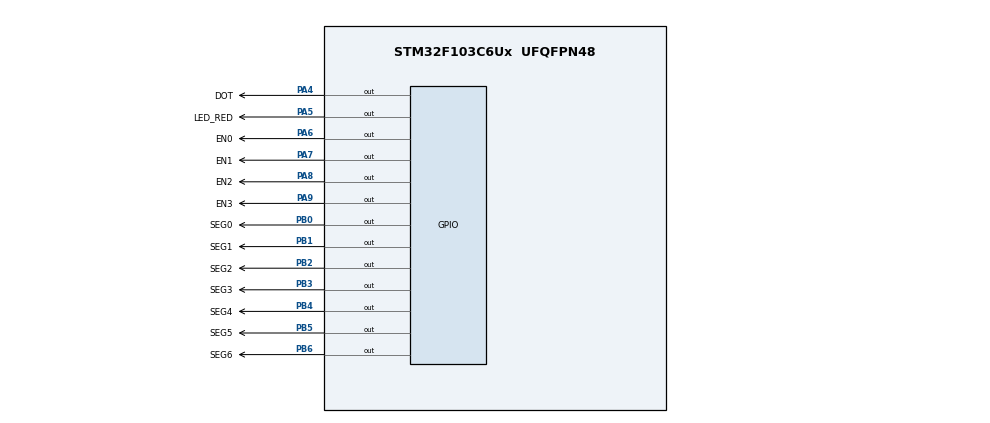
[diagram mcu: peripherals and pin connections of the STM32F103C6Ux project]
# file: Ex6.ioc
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Mcu.Family=STM32F1
Mcu.Name=STM32F103C6Ux
Mcu.Package=UFQFPN48
NVIC.PriorityGroup=NVIC_PRIORITYGROUP_4
NVIC.TIM2_IRQn=true\:0\:0\:false\:false\:true\:true\:true
PA4.GPIO_Label=DOT
PA4.Signal=GPIO_Output
PA5.GPIO_Label=LED_RED
PA5.Signal=GPIO_Output
PA6.GPIO_Label=EN0
PA6.Signal=GPIO_Output
PA7.GPIO_Label=EN1
PA7.Signal=GPIO_Output
PA8.GPIO_Label=EN2
PA8.Signal=GPIO_Output
PA9.GPIO_Label=EN3
PA9.Signal=GPIO_Output
PB0.GPIO_Label=SEG0
PB0.Signal=GPIO_Output
PB1.GPIO_Label=SEG1
PB1.Signal=GPIO_Output
PB2.GPIO_Label=SEG2
PB2.Signal=GPIO_Output
PB3.GPIO_Label=SEG3
PB3.Signal=GPIO_Output
PB4.GPIO_Label=SEG4
PB4.Signal=GPIO_Output
PB5.GPIO_Label=SEG5
PB5.Signal=GPIO_Output
PB6.GPIO_Label=SEG6
PB6.Signal=GPIO_Output
ProjectManager.HeapSize=0x200
ProjectManager.StackSize=0x400
ProjectManager.TargetToolchain=STM32CubeIDE
RCC.APB1Freq_Value=8000000
RCC.APB2Freq_Value=8000000
TIM2.Period=9
TIM2.Prescaler=7999
VP_SYS_VS_ND.Mode=No_Debug
VP_TIM2_VS_ClockSourceINT.Mode=Internal
board=custom

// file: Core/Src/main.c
/* USER CODE BEGIN Header */
/**
  ******************************************************************************
  * @file           : main.c
  * @brief          : Main program body
  ******************************************************************************
  * @attention
  *
  * <h2><center>&copy; Copyright (c) 2022 STMicroelectronics.
  * All rights reserved.</center></h2>
  *
  * This software component is licensed by ST under BSD 3-Clause license,
  * the "License"; You may not use this file except in compliance with the
  * License. You may obtain a copy of the License at:
  *                        opensource.org/licenses/BSD-3-Clause
  *
  ******************************************************************************
  */
/* USER CODE END Header */
#include "main.h"

/* USER CODE BEGIN Includes */
#include "LED.h"
#include "SOFTWARETIMER.h"
/* USER CODE END Includes */

TIM_HandleTypeDef htim2;

void SystemClock_Config(void);
static void MX_GPIO_Init(void);
static void MX_TIM2_Init(void);

/* USER CODE BEGIN 0 */
int timer0_counter = 0;
int timer0_flag = 0;
int TIMER_CYCLE = 10;
void setTimer0(int duration){
	timer0_counter = duration / TIMER_CYCLE ;
	timer0_flag = 0;
}
void timer_run(){
	if (timer0_counter > 0) {
		timer0_counter--;
		if (timer0_counter == 0) timer0_flag = 1;
	}
}
/* USER CODE END 0 */

int main(void)
{

  /* MCU Configuration--------------------------------------------------------*/

  /* Reset of all peripherals, Initializes the Flash interface and the Systick. */
  HAL_Init();

  /* Configure the system clock */
  SystemClock_Config();

  /* Initialize all configured peripherals */
  MX_GPIO_Init();
  MX_TIM2_Init();
  /* USER CODE BEGIN 2 */
  HAL_TIM_Base_Start_IT(&htim2);
  setTimer0 (10);
  /* USER CODE END 2 */

  /* Infinite loop */
  while (1)
  {
	  if (timer0_flag == 1) {
		  HAL_GPIO_TogglePin(LED_RED_GPIO_Port, LED_RED_Pin);
		  setTimer0(2000);
	  }
  }
}

void SystemClock_Config(void)
{
  RCC_OscInitTypeDef RCC_OscInitStruct = {0};
  RCC_ClkInitTypeDef RCC_ClkInitStruct = {0};

  /** Initializes the RCC Oscillators according to the specified parameters
  * in the RCC_OscInitTypeDef structure.
  */
  RCC_OscInitStruct.OscillatorType = RCC_OSCILLATORTYPE_HSI;
  RCC_OscInitStruct.HSIState = RCC_HSI_ON;
  RCC_OscInitStruct.HSICalibrationValue = RCC_HSICALIBRATION_DEFAULT;
  RCC_OscInitStruct.PLL.PLLState = RCC_PLL_NONE;
  if (HAL_RCC_OscConfig(&RCC_OscInitStruct) != HAL_OK)
  {
    Error_Handler();
  }
  /** Initializes the CPU, AHB and APB buses clocks
  */
  RCC_ClkInitStruct.ClockType = RCC_CLOCKTYPE_HCLK|RCC_CLOCKTYPE_SYSCLK
                              |RCC_CLOCKTYPE_PCLK1|RCC_CLOCKTYPE_PCLK2;
  RCC_ClkInitStruct.SYSCLKSource = RCC_SYSCLKSOURCE_HSI;
  RCC_ClkInitStruct.AHBCLKDivider = RCC_SYSCLK_DIV1;
  RCC_ClkInitStruct.APB1CLKDivider = RCC_HCLK_DIV1;
  RCC_ClkInitStruct.APB2CLKDivider = RCC_HCLK_DIV1;

  if (HAL_RCC_ClockConfig(&RCC_ClkInitStruct, FLASH_LATENCY_0) != HAL_OK)
  {
    Error_Handler();
  }
}

static void MX_TIM2_Init(void)
{

  TIM_ClockConfigTypeDef sClockSourceConfig = {0};
  TIM_MasterConfigTypeDef sMasterConfig = {0};

  htim2.Instance = TIM2;
  htim2.Init.Prescaler = 7999;
  htim2.Init.CounterMode = TIM_COUNTERMODE_UP;
  htim2.Init.Period = 9;
  htim2.Init.ClockDivision = TIM_CLOCKDIVISION_DIV1;
  htim2.Init.AutoReloadPreload = TIM_AUTORELOAD_PRELOAD_DISABLE;
  if (HAL_TIM_Base_Init(&htim2) != HAL_OK)
  {
    Error_Handler();
  }
  sClockSourceConfig.ClockSource = TIM_CLOCKSOURCE_INTERNAL;
  if (HAL_TIM_ConfigClockSource(&htim2, &sClockSourceConfig) != HAL_OK)
  {
    Error_Handler();
  }
  sMasterConfig.MasterOutputTrigger = TIM_TRGO_RESET;
  sMasterConfig.MasterSlaveMode = TIM_MASTERSLAVEMODE_DISABLE;
  if (HAL_TIMEx_MasterConfigSynchronization(&htim2, &sMasterConfig) != HAL_OK)
  {
    Error_Handler();
  }

}

static void MX_GPIO_Init(void)
{
  GPIO_InitTypeDef GPIO_InitStruct = {0};

  /* GPIO Ports Clock Enable */
  __HAL_RCC_GPIOA_CLK_ENABLE();
  __HAL_RCC_GPIOB_CLK_ENABLE();

  /*Configure GPIO pin Output Level */
  HAL_GPIO_WritePin(GPIOA, DOT_Pin|LED_RED_Pin|EN0_Pin|EN1_Pin
                          |EN2_Pin|EN3_Pin, GPIO_PIN_RESET);

  /*Configure GPIO pin Output Level */
  HAL_GPIO_WritePin(GPIOB, SEG0_Pin|SEG1_Pin|SEG2_Pin|SEG3_Pin
                          |SEG4_Pin|SEG5_Pin|SEG6_Pin, GPIO_PIN_RESET);

  /*Configure GPIO pins : DOT_Pin LED_RED_Pin EN0_Pin EN1_Pin
                           EN2_Pin EN3_Pin */
  GPIO_InitStruct.Pin = DOT_Pin|LED_RED_Pin|EN0_Pin|EN1_Pin
                          |EN2_Pin|EN3_Pin;
  GPIO_InitStruct.Mode = GPIO_MODE_OUTPUT_PP;
  GPIO_InitStruct.Pull = GPIO_NOPULL;
  GPIO_InitStruct.Speed = GPIO_SPEED_FREQ_LOW;
  HAL_GPIO_Init(GPIOA, &GPIO_InitStruct);

  /*Configure GPIO pins : SEG0_Pin SEG1_Pin SEG2_Pin SEG3_Pin
                           SEG4_Pin SEG5_Pin SEG6_Pin */
  GPIO_InitStruct.Pin = SEG0_Pin|SEG1_Pin|SEG2_Pin|SEG3_Pin
                          |SEG4_Pin|SEG5_Pin|SEG6_Pin;
  GPIO_InitStruct.Mode = GPIO_MODE_OUTPUT_PP;
  GPIO_InitStruct.Pull = GPIO_NOPULL;
  GPIO_InitStruct.Speed = GPIO_SPEED_FREQ_LOW;
  HAL_GPIO_Init(GPIOB, &GPIO_InitStruct);

}

/* USER CODE BEGIN 4 */
void HAL_TIM_PeriodElapsedCallback(TIM_HandleTypeDef *htim){
	//timerRun();
	timer_run();
}
/* USER CODE END 4 */

void Error_Handler(void)
{
  __disable_irq();
  while (1)
  {
  }
}

/************************ (C) COPYRIGHT STMicroelectronics *****END OF FILE****/
